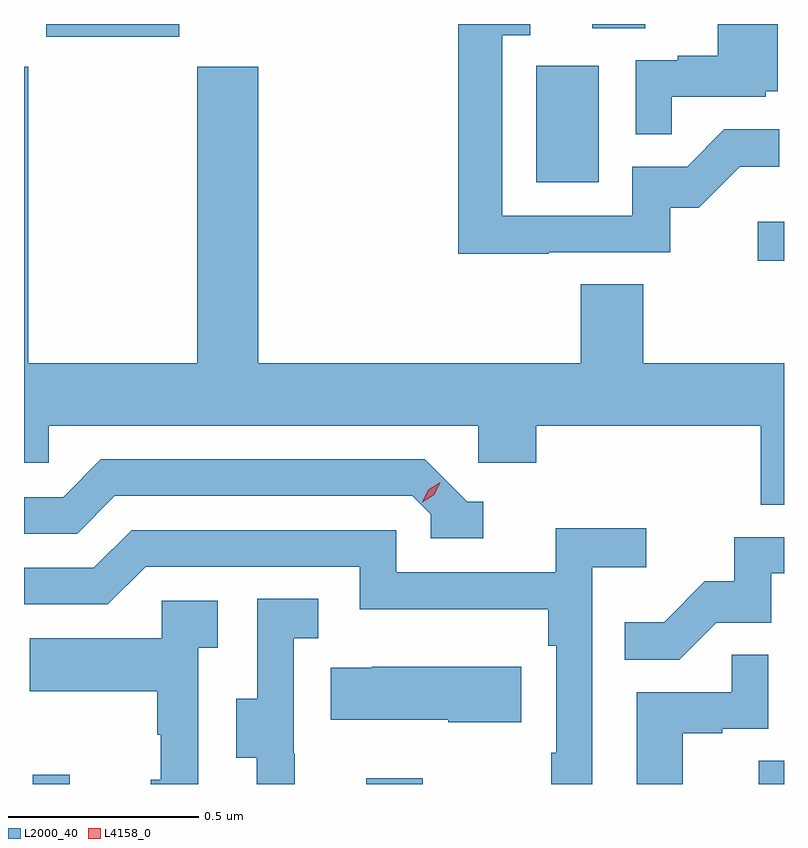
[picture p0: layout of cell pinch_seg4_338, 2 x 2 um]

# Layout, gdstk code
import gdstk
lib = gdstk.Library(unit=1e-6, precision=1e-09)
def R(c, l, rs):  # rectangles x0, y0, x1, y1
    for r in rs: c.add(gdstk.rectangle(r[:2], r[2:], *l))
def P(c, l, *ps):  # polygons
    for p in ps: c.add(gdstk.Polygon(p, *l))
L2000_40 = (2000, 40)
L4158_0 = (4158, 0)

pinch_seg4_338 = lib.new_cell('pinch_seg4_338')
R(pinch_seg4_338, L2000_40, [(984.729,809.197,984.827,809.221), (985.607,809.197,985.755,809.212), (986.639,809.197,986.706,809.258), (986.637,810.574,986.706,810.676), (986.054,810.78,986.218,811.087), (984.764,811.163,985.114,811.197), (986.201,811.186,986.341,811.197)])
P(pinch_seg4_338, L2000_40, [(986.087,810.597),(986.406,810.597),(986.406,810.714),(986.482,810.714),(986.589,810.821),(986.693,810.821),(986.693,810.92),(986.549,810.92),(986.451,810.822),(986.307,810.822),(986.307,810.693),(985.965,810.693),(985.965,811.167),(986.038,811.167),(986.038,811.197),(985.849,811.197),(985.849,810.592),(986.087,810.592)],
  [(986.411,811.005),(986.658,811.005),(986.658,811.02),(986.689,811.02),(986.689,811.197),(986.531,811.197),(986.531,811.114),(986.427,811.114),(986.427,811.101),(986.316,811.101),(986.316,810.907),(986.411,810.907)],
  [(986.706,810.304),(986.336,810.304),(986.336,810.512),(986.171,810.512),(986.171,810.304),(985.322,810.304),(985.322,811.084),(985.162,811.084),(985.162,810.304),(984.717,810.304),(984.717,811.084),(984.706,811.084),(984.706,810.042),(984.771,810.042),(984.771,810.14),(985.902,810.14),(985.902,810.042),(986.054,810.042),(986.054,810.14),(986.645,810.14),(986.645,809.932),(986.706,809.932)],
  [(985.915,809.94),(985.872,809.94),(985.761,810.051),(984.908,810.051),(984.809,809.952),(984.706,809.952),(984.706,809.856),(984.846,809.856),(984.945,809.955),(985.728,809.955),(985.776,809.907),(985.776,809.844),(985.915,809.844)],
  [(986.202,809.768),(986.344,809.768),(986.344,809.87),(986.105,809.87),(986.105,809.754),(985.686,809.754),(985.686,809.865),(984.989,809.865),(984.89,809.766),(984.706,809.766),(984.706,809.67),(984.927,809.67),(985.026,809.769),(985.59,809.769),(985.59,809.657),(986.086,809.657),(986.086,809.561),(986.106,809.561),(986.106,809.279),(986.094,809.279),(986.094,809.197),(986.202,809.197)],
  [(986.528,809.622),(986.673,809.622),(986.673,809.751),(986.706,809.751),(986.706,809.847),(986.575,809.847),(986.575,809.73),(986.498,809.73),(986.391,809.623),(986.287,809.623),(986.287,809.524),(986.43,809.524)],
  [(985.418,809.277),(985.416,809.277),(985.416,809.581),(985.48,809.581),(985.48,809.684),(985.32,809.684),(985.32,809.421),(985.265,809.421),(985.265,809.266),(985.319,809.266),(985.319,809.197),(985.418,809.197)],
  [(985.164,809.555),(985.216,809.555),(985.216,809.679),(985.068,809.679),(985.068,809.581),(984.721,809.581),(984.721,809.441),(985.056,809.441),(985.056,809.327),(985.066,809.327),(985.066,809.208),(985.04,809.208),(985.04,809.197),(985.164,809.197)],
  [(986.44,809.331),(986.543,809.331),(986.543,809.343),(986.664,809.343),(986.664,809.537),(986.569,809.537),(986.569,809.439),(986.318,809.439),(986.318,809.197),(986.44,809.197)],
  [(986.014,809.506),(985.621,809.506),(985.621,809.503),(985.513,809.503),(985.513,809.366),(985.823,809.366),(985.823,809.359),(986.014,809.359)])
P(pinch_seg4_338, L4158_0, [(985.754,809.939),(985.754,809.939),(985.77,809.972),(985.801,809.991),(985.802,809.991),(985.802,809.991),(985.785,809.958),(985.754,809.939)])

lib.write_gds('pinch_seg4_338.gds')
